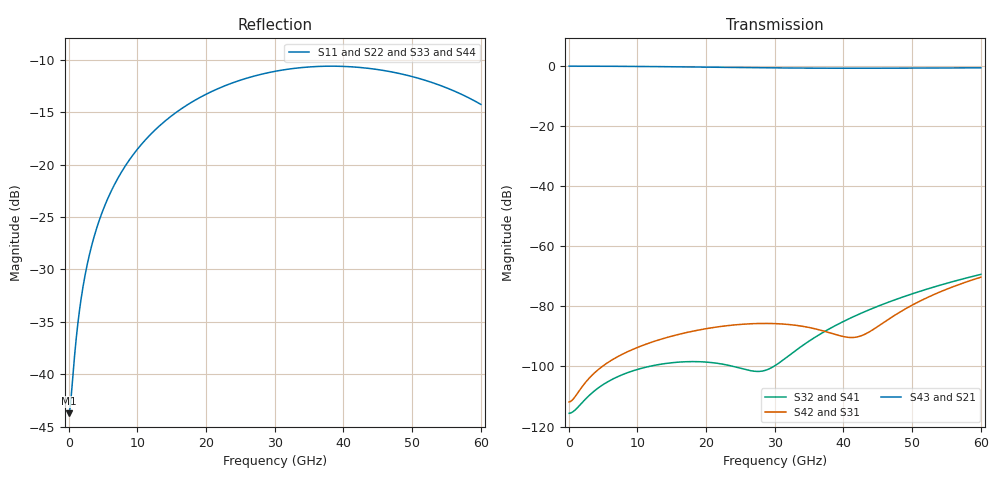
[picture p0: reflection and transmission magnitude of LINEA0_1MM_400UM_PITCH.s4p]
! TOUCHSTONE file generated by CST MICROWAVE STUDIO
! Date and time: Wed Oct 14 13:03:48 2026
! Project name: LINEA0_1MM_400UM_PITCH.cst
! Parameters = {CHANNEL_PITCH=0.4; GAP=0.00415; L=1; L1=0.02; L2=0.086; L3=0.066; NCELL=1; PITCH=0.18; START_POSITION=0.08; W1=0.003; W2=0.004; W3=0.009; WG=0.04985; gap_oxr=0.00125; linbo3_thickness=0.0002; mtx=0.002; oxiDinE=0.0014; w=0.15; ws=0.035}
! Header version: 2024
! Port assignment regex: !\s*Touchstone port\s*([0-9]+)\s*=\s*(CST MWS port|CST DES external port|CST DES block port)\s*(.+)\s* \(\"(.*)\"\)(\s*mode\s*([0-9]+))?.*
! Touchstone port assignment:
! Touchstone port 1 = CST MWS port 1 ("")
! Touchstone port 2 = CST MWS port 2 ("")
! Touchstone port 3 = CST MWS port 3 ("")
! Touchstone port 4 = CST MWS port 4 ("")
# GHz S MA R 50
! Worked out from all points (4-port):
!   1000 points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, 60 MHz to 60 GHz, reference 50 ohm
!   strongest paths, dB at 60 MHz, 15.06 GHz, 30.06 GHz, 45.06 GHz, 60 GHz:
!     S43: -0.1, -0.3, -0.6, -0.7, -0.6
!     S21: -0.1, -0.3, -0.6, -0.7, -0.6
!     S42: -111.8, -89.9, -85.7, -86.6, -70.3
!     S31: -111.8, -89.9, -85.7, -86.6, -70.3
!     S32: -115.6, -98.7, -99.7, -79.9, -69.3
!     S41: -115.6, -98.7, -99.7, -79.9, -69.3
!   lowest |S11| = -43.7 dB at 60 MHz (marker M1), VSWR 1.01, Z = 50.7 - j0.0756 ohm
!   |S11| at or under -10 dB: start of sweep to end of sweep
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0.06  0.006504 -6.6  0.9921 -0.2  2.567e-06 2.5  1.661e-06 177.7
      0.9921 -0.2  0.006504 -6.6  1.661e-06 177.7  2.567e-06 2.5
      2.567e-06 2.5  1.661e-06 177.7  0.006485 -6.6  0.9921 -0.2
      1.661e-06 177.7  2.567e-06 2.5  0.9921 -0.2  0.006485 -6.6
2.04  0.02565 -80.1  0.9917 -5.2  4.74e-06 53.8  2.563e-06 118.5
      0.9917 -5.2  0.02565 -80.1  2.563e-06 118.5  4.74e-06 53.8
      4.74e-06 53.8  2.563e-06 118.5  0.02568 -80.2  0.9917 -5.2
      2.563e-06 118.5  4.74e-06 53.8  0.9917 -5.2  0.02568 -80.2
4.62  0.05631 -94.2  0.9898 -11.7  9.482e-06 66.2  4.663e-06 84.0
      0.9898 -11.7  0.05631 -94.2  4.663e-06 84.0  9.481e-06 66.2
      9.482e-06 66.2  4.663e-06 84.0  0.05638 -94.2  0.9899 -11.7
      4.663e-06 84.0  9.481e-06 66.2  0.9899 -11.7  0.05638 -94.2
15.36  0.175 -123.6  0.9694 -38.4  3.274e-05 52.1  1.164e-05 11.7
       0.9694 -38.4  0.175 -123.6  1.164e-05 11.7  3.274e-05 52.1
       3.274e-05 52.1  1.164e-05 11.7  0.1752 -123.6  0.9695 -38.4
       1.164e-05 11.7  3.274e-05 52.1  0.9695 -38.4  0.1752 -123.6
31.62  0.2848 -161.9  0.9256 -76.4  5.038e-05 -11.9  1.391e-05 27.9
       0.9256 -76.4  0.2848 -161.9  1.391e-05 27.9  5.038e-05 -11.9
       5.038e-05 -11.9  1.391e-05 27.9  0.2852 -161.9  0.9257 -76.4
       1.391e-05 27.9  5.038e-05 -11.9  0.9257 -76.4  0.2852 -161.9
49.44  0.2664 158.7  0.9219 -116.3  9.679e-05 135.9  0.0001538 -41.8
       0.9219 -116.3  0.2664 158.7  0.0001538 -41.8  9.679e-05 135.9
       9.679e-05 135.9  0.0001538 -41.8  0.2669 158.8  0.9221 -116.2
       0.0001538 -41.8  9.679e-05 135.9  0.9221 -116.2  0.2669 158.8
60  0.1941 137.6  0.9311 -141.2  0.0003057 64.5  0.0003409 -106.7
    0.9311 -141.2  0.1941 137.6  0.0003409 -106.7  0.0003057 64.5
    0.0003057 64.5  0.0003409 -106.7  0.1946 137.6  0.9314 -141.2
    0.0003409 -106.7  0.0003057 64.5  0.9314 -141.2  0.1946 137.6
